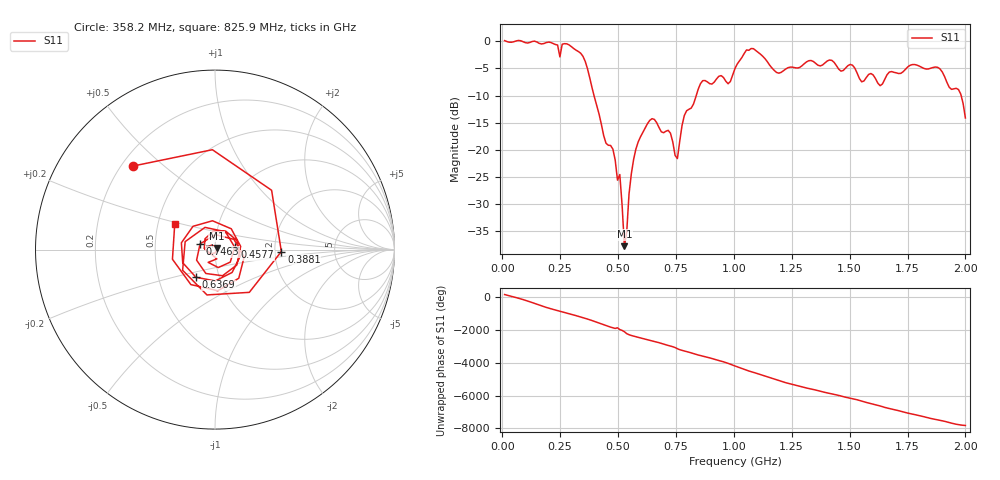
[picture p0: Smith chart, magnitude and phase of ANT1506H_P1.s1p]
!Created with skrf (http://scikit-rf.org).
# Hz S RI R 50.0
!freq ReS11 ImS11
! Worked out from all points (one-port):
!   201 points, 10 MHz to 2 GHz, reference 50 ohm
!   lowest |S11| = -37.7 dB at 527.4 MHz (marker M1), VSWR 1.03, Z = 51 + j0.89 ohm
!   |S11| at or under -10 dB: 396.2 MHz to 837.5 MHz (441.3 MHz wide, 71.5 % of centre); 1.982 GHz to end of sweep
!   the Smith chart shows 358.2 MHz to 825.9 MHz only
!   S11 on the Smith chart (normalised r, x): 358.2 MHz: 0.24, +0.40; 388.1 MHz: 2.17, -0.05; 457.8 MHz: 1.25, +0.03; 636.9 MHz: 0.77, -0.25; 746.3 MHz: 0.85, +0.05; 825.9 MHz: 0.61, +0.19
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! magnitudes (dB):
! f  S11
! 10 MHz  0.1
! 209 MHz  -0.2
! 248.8 MHz  -2.9
! 258.8 MHz  -0.5
! 358.2 MHz  -3.7
! 388.1 MHz  -8.6
! 457.8 MHz  -19.1
! 507.5 MHz  -24.5
! 527.4 MHz  -37.7
! 567.2 MHz  -21.7
! 636.9 MHz  -14.6
! 726.4 MHz  -16.9
! 746.3 MHz  -21.0
! 756.2 MHz  -21.6
! 786.1 MHz  -13.7
! 825.9 MHz  -11.5
! 865.7 MHz  -7.2
! 975.1 MHz  -7.8
! 1.005 GHz  -5.0
! 1.075 GHz  -1.3
! 1.184 GHz  -5.7
! 1.254 GHz  -4.8
! 1.502 GHz  -4.3
! 1.632 GHz  -8.2
! 1.751 GHz  -4.7
! 1.891 GHz  -5.1
! 1.97 GHz  -8.9
! 2 GHz  -14.1
